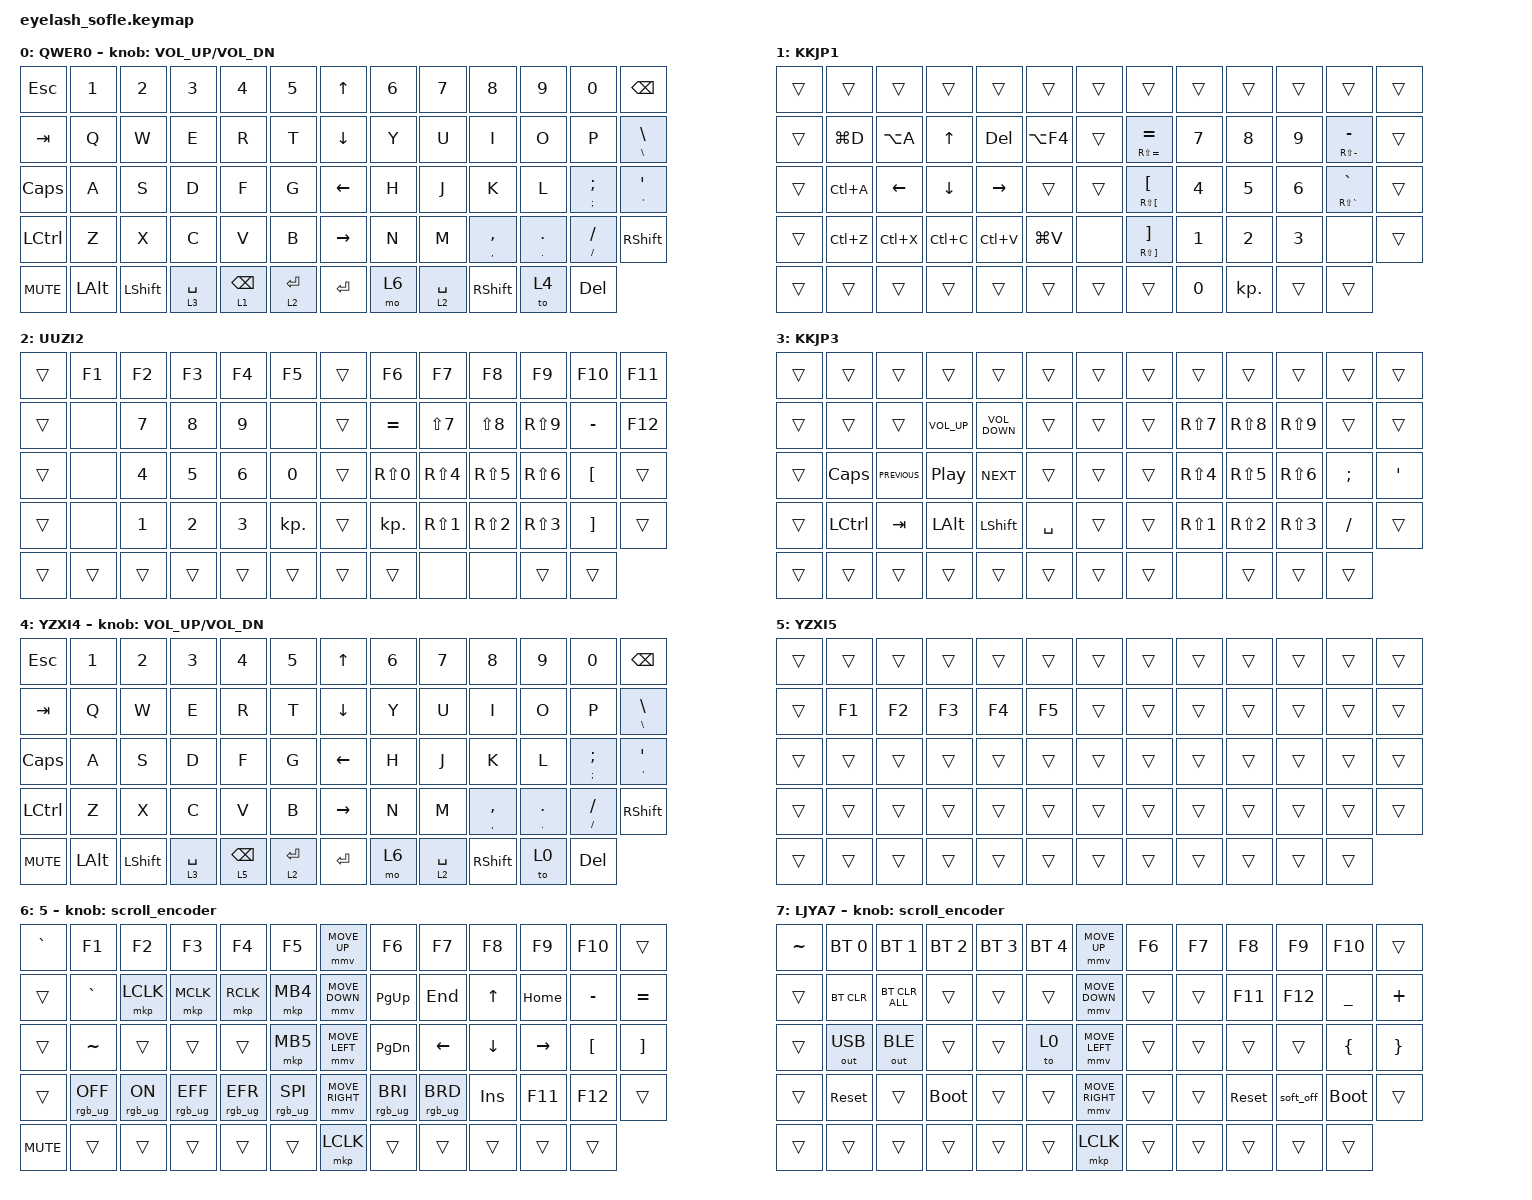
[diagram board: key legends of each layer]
#define ZMK_POINTING_DEFAULT_MOVE_VAL 1200  // 600
#define ZMK_POINTING_DEFAULT_SCRL_VAL 35    // 10

#include <input/processors.dtsi>
#include <zephyr/dt-bindings/input/input-event-codes.h>
#include <behaviors.dtsi>
#include <dt-bindings/zmk/bt.h>
#include <dt-bindings/zmk/keys.h>
#include <dt-bindings/zmk/outputs.h>
#include <dt-bindings/zmk/pointing.h>
#include <dt-bindings/zmk/rgb.h>

/ {
    zip_scroll_scaler: zip_scroll_scaler {
        compatible = "zmk,input-processor-scaler";
        #input-processor-cells = <2>;
        type = <INPUT_EV_REL>;
        codes = <INPUT_REL_WHEEL INPUT_REL_HWHEEL>;
        track-remainders;
    };
};

&mmv_input_listener { input-processors = <&zip_xy_scaler 2 1>; };

&msc_input_listener { input-processors = <&zip_scroll_scaler 2 1>; };

&msc {
    acceleration-exponent = <0>;      // 0
    time-to-max-speed-ms = <0>;       // 300
    delay-ms = <0>;                   // 0
};

&mmv {
    time-to-max-speed-ms = <400>;
    acceleration-exponent = <1>;
};

/ {
    scroll_encoder: scroll_encoder {
        compatible = "zmk,behavior-sensor-rotate";
        #sensor-binding-cells = <0>;
        bindings = <&msc SCRL_DOWN>, <&msc SCRL_UP>;

        tap-ms = <30>;
    };

    macros {
        shift_MB3: shift_MB3 {
            compatible = "zmk,behavior-macro";
            #binding-cells = <0>;
            bindings =
                <&macro_press>,
                <&kp LEFT_SHIFT>,
                <&macro_press>,
                <&mkp MB3>,
                <&macro_pause_for_release>,
                <&macro_release>,
                <&mkp MB3 &kp LEFT_SHIFT>;

            label = "SHIFT_MB3";
        };
    };

    behaviors {
        hm: homerow_mods {
            compatible = "zmk,behavior-hold-tap";
            label = "HOMEROW_MODS";
            #binding-cells = <2>;
            tapping-term-ms = <200>;
            quick_tap_ms = <0>;
            flavor = "tap-preferred";
            bindings = <&kp>, <&kp>;

            quick-tap-ms = <180>;
            global-quick-tap;
        };

        ltq: ltq {
            compatible = "zmk,behavior-hold-tap";
            label = "LTQ";
            #binding-cells = <2>;
            tapping-term-ms = <200>;
            flavor = "hold-preferred";
            bindings = <&mo>, <&kp>;

            quick-tap-ms = <180>;
        };

        as: as {
            compatible = "zmk,behavior-hold-tap";
            label = "AUTO_SHIFT";
            bindings = <&kp>, <&kp>;

            #binding-cells = <2>;
            tapping-term-ms = <135>;
            quick-tap-ms = <0>;
            flavor = "tap-preferred";
        };
    };

    combos {
        compatible = "zmk,combos";

        TO6 {
            bindings = <&mo 7>;
            key-positions = <0 12>;
        };

        SPAC {
            bindings = <&kp SPACE>;
            key-positions = <29 30>;
        };

        SHIF {
            bindings = <&kp LEFT_SHIFT>;
            key-positions = <42 43>;
        };

        CTR {
            bindings = <&kp LCTRL>;
            key-positions = <16 17>;
        };

        ALT {
            bindings = <&kp LEFT_ALT>;
            key-positions = <29 28>;
        };

        WIN {
            bindings = <&kp LWIN>;
            key-positions = <42 41>;
        };
    };

    keymap {
        compatible = "zmk,keymap";

        QWER0 {
            bindings = <
&kp ESC     &kp N1    &kp N2          &kp N3        &kp N4            &kp N5          &kp UP_ARROW     &kp N6  &kp N7        &kp N8           &kp N9          &kp N0              &kp BACKSPACE
&kp TAB     &kp Q     &kp W           &kp E         &kp R             &kp T           &kp DOWN_ARROW   &kp Y   &kp U         &kp I            &kp O           &kp P               &as BSLH BSLH
&kp CAPS    &kp A     &kp S           &kp D         &kp F             &kp G           &kp LEFT_ARROW   &kp H   &kp J         &kp K            &kp L           &as SEMI SEMICOLON  &as APOS APOS
&kp LCTRL   &kp Z     &kp X           &kp C         &kp V             &kp B           &kp RIGHT_ARROW  &kp N   &kp M         &as COMMA COMMA  &as DOT PERIOD  &as FSLH FSLH       &kp RIGHT_SHIFT
&kp C_MUTE  &kp LALT  &kp LEFT_SHIFT  &ltq 3 SPACE  &ltq 1 BACKSPACE  &ltq 2 ENTER    &kp ENTER        &mo 6   &ltq 2 SPACE  &kp RIGHT_SHIFT  &to 4           &kp DELETE
            >;

            sensor-bindings = <&inc_dec_kp C_VOLUME_UP C_VOL_DN>;
            display-name = "QWER0";
        };

        KKJP1 {
            bindings = <
&trans  &trans     &trans     &trans     &trans     &trans        &trans  &trans                               &trans  &trans      &trans  &trans               &trans
&trans  &kp LG(D)  &kp LA(A)  &kp UP     &kp DEL    &kp LA(F4)    &trans  &as RS(EQUAL) EQUAL                  &kp N7  &kp N8      &kp N9  &as RS(MINUS) MINUS  &trans
&trans  &kp LC(A)  &kp LEFT   &kp DOWN   &kp RIGHT  &trans        &trans  &as RS(LEFT_BRACKET) LEFT_BRACKET    &kp N4  &kp N5      &kp N6  &as RS(GRAVE) GRAVE  &trans
&trans  &kp LC(Z)  &kp LC(X)  &kp LC(C)  &kp LC(V)  &kp LG(V)     &none   &as RS(RIGHT_BRACKET) RIGHT_BRACKET  &kp N1  &kp N2      &kp N3  &none                &trans
&trans  &trans     &trans     &trans     &trans     &trans        &trans  &trans                               &kp N0  &kp KP_DOT  &trans  &trans
            >;

            label = "KKJP1";
        };

        UUZI2 {
            bindings = <
&trans  &kp F1  &kp F2  &kp F3  &kp F4  &kp F5        &trans  &kp F6      &kp F7      &kp F8      &kp F9      &kp F10    &kp F11
&trans  &none   &kp N7  &kp N8  &kp N9  &none         &trans  &kp EQUAL   &kp LS(N7)  &kp LS(N8)  &kp RS(N9)  &kp MINUS  &kp F12
&trans  &none   &kp N4  &kp N5  &kp N6  &kp N0        &trans  &kp RS(N0)  &kp RS(N4)  &kp RS(N5)  &kp RS(N6)  &kp LBKT   &trans
&trans  &none   &kp N1  &kp N2  &kp N3  &kp KP_DOT    &trans  &kp KP_DOT  &kp RS(N1)  &kp RS(N2)  &kp RS(N3)  &kp RBKT   &trans
&trans  &trans  &trans  &trans  &trans  &trans        &trans  &trans      &none       &none       &trans      &trans
            >;

            label = "UUZI2";
        };

        KKJP3 {
            bindings = <
&trans  &trans     &trans          &trans           &trans             &trans       &trans  &trans  &trans      &trans      &trans      &trans    &trans
&trans  &trans     &trans          &kp C_VOLUME_UP  &kp C_VOLUME_DOWN  &trans       &trans  &trans  &kp RS(N7)  &kp RS(N8)  &kp RS(N9)  &trans    &trans
&trans  &kp CAPS   &kp C_PREVIOUS  &kp C_PP         &kp C_NEXT         &trans       &trans  &trans  &kp RS(N4)  &kp RS(N5)  &kp RS(N6)  &kp SEMI  &kp APOS
&trans  &kp LCTRL  &kp TAB         &kp LALT         &kp LSHFT          &kp SPACE    &trans  &trans  &kp RS(N1)  &kp RS(N2)  &kp RS(N3)  &kp FSLH  &trans
&trans  &trans     &trans          &trans           &trans             &trans       &trans  &trans  &none       &trans      &trans      &trans
            >;

            label = "KKJP3";
        };

        YZXI4 {
            bindings = <
&kp ESC     &kp N1    &kp N2          &kp N3        &kp N4            &kp N5          &kp UP_ARROW     &kp N6  &kp N7        &kp N8           &kp N9          &kp N0              &kp BACKSPACE
&kp TAB     &kp Q     &kp W           &kp E         &kp R             &kp T           &kp DOWN_ARROW   &kp Y   &kp U         &kp I            &kp O           &kp P               &as BSLH BSLH
&kp CAPS    &kp A     &kp S           &kp D         &kp F             &kp G           &kp LEFT_ARROW   &kp H   &kp J         &kp K            &kp L           &as SEMI SEMICOLON  &as APOS APOS
&kp LCTRL   &kp Z     &kp X           &kp C         &kp V             &kp B           &kp RIGHT_ARROW  &kp N   &kp M         &as COMMA COMMA  &as DOT PERIOD  &as FSLH FSLH       &kp RIGHT_SHIFT
&kp C_MUTE  &kp LALT  &kp LEFT_SHIFT  &ltq 3 SPACE  &ltq 5 BACKSPACE  &ltq 2 ENTER    &kp ENTER        &mo 6   &ltq 2 SPACE  &kp RIGHT_SHIFT  &to 0           &kp DELETE
            >;

            sensor-bindings = <&inc_dec_kp C_VOLUME_UP C_VOL_DN>;
            label = "YZXI4";
        };

        YZXI5 {
            bindings = <
&trans  &trans  &trans  &trans  &trans  &trans    &trans  &trans  &trans  &trans  &trans  &trans  &trans
&trans  &kp F1  &kp F2  &kp F3  &kp F4  &kp F5    &trans  &trans  &trans  &trans  &trans  &trans  &trans
&trans  &trans  &trans  &trans  &trans  &trans    &trans  &trans  &trans  &trans  &trans  &trans  &trans
&trans  &trans  &trans  &trans  &trans  &trans    &trans  &trans  &trans  &trans  &trans  &trans  &trans
&trans  &trans  &trans  &trans  &trans  &trans    &trans  &trans  &trans  &trans  &trans  &trans
            >;

            label = "YZXI5";
        };

        UUBN6 {
            bindings = <
&kp GRAVE   &kp F1           &kp F2          &kp F3           &kp F4           &kp F5             &mmv MOVE_UP     &kp F6           &kp F7           &kp F8      &kp F9     &kp F10           &trans
&trans      &kp GRAVE        &mkp LCLK       &mkp MCLK        &mkp RCLK        &mkp MB4           &mmv MOVE_DOWN   &kp PG_UP        &kp END          &kp UP      &kp HOME   &kp MINUS         &kp EQUAL
&trans      &kp TILDE        &trans          &trans           &trans           &mkp MB5           &mmv MOVE_LEFT   &kp PG_DN        &kp LEFT         &kp DOWN    &kp RIGHT  &kp LEFT_BRACKET  &kp RIGHT_BRACKET
&trans      &rgb_ug RGB_OFF  &rgb_ug RGB_ON  &rgb_ug RGB_EFF  &rgb_ug RGB_EFR  &rgb_ug RGB_SPI    &mmv MOVE_RIGHT  &rgb_ug RGB_BRI  &rgb_ug RGB_BRD  &kp INSERT  &kp F11    &kp F12           &trans
&kp C_MUTE  &trans           &trans          &trans           &trans           &trans             &mkp LCLK        &trans           &trans           &trans      &trans     &trans
            >;

            display-name = "5";
            sensor-bindings = <&scroll_encoder>;
            label = "UUBN6";
        };

        LJYA7 {
            bindings = <
&kp TILDE  &bt BT_SEL 0  &bt BT_SEL 1    &bt BT_SEL 2  &bt BT_SEL 3  &bt BT_SEL 4    &mmv MOVE_UP     &kp F6  &kp F7  &kp F8      &kp F9     &kp F10      &trans
&trans     &bt BT_CLR    &bt BT_CLR_ALL  &trans        &trans        &trans          &mmv MOVE_DOWN   &trans  &trans  &kp F11     &kp F12    &kp UNDER    &kp PLUS
&trans     &out OUT_USB  &out OUT_BLE    &trans        &trans        &to 0           &mmv MOVE_LEFT   &trans  &trans  &trans      &trans     &kp LBRC     &kp RBRC
&trans     &sys_reset    &trans          &bootloader   &trans        &trans          &mmv MOVE_RIGHT  &trans  &trans  &sys_reset  &soft_off  &bootloader  &trans
&trans     &trans        &trans          &trans        &trans        &trans          &mkp LCLK        &trans  &trans  &trans      &trans     &trans
            >;

            sensor-bindings = <&scroll_encoder>;
            label = "LJYA7";
        };
    };
};
